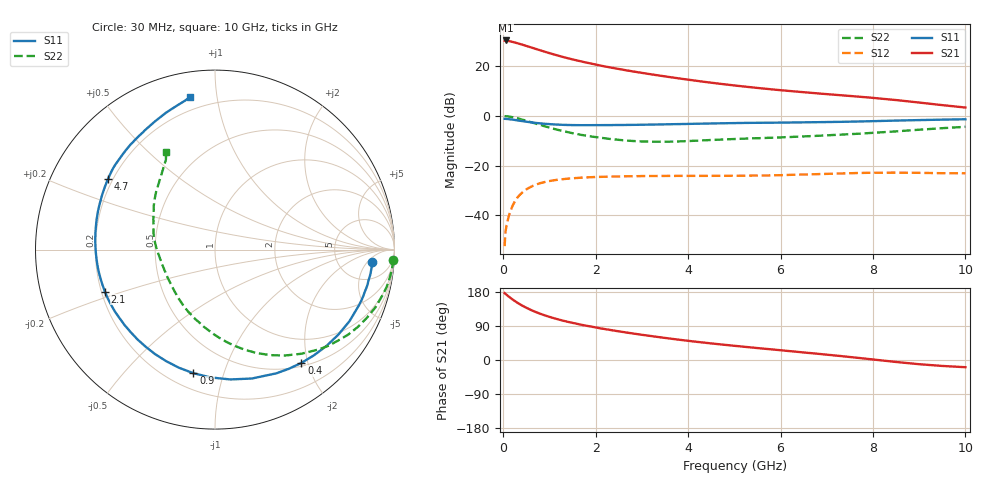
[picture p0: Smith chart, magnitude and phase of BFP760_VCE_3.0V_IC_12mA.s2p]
! Infineon Technologies  Discrete & RF Semiconductors
! BFP760
! VCE =  3.0 V,  IC =  12 mA
! Common Emitter S-Parameters:  Nov 2012
# GHz  S  MA  R  50
!  f  S11  S21  S12  S22
! GHz  MAG  ANG  MAG  ANG  MAG  ANG  MAG  ANG
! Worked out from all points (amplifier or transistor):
!   99 points, 30 MHz to 10 GHz, reference 50 ohm
!   highest |S21| = 30.4 dB at 50 MHz (marker M1)
!   |S21| within 3 dB of that: start of sweep to 635.8 MHz
!   unconditionally stable (mu >= 1): 5.28 GHz to end of sweep
!   at 350 MHz: K = 0.15, MSG = 30.5 dB, |S12| = -31.9 dB
!   at 3.5 GHz: K = 0.73, MSG = 20.0 dB, |S12| = -24.1 dB
!   at 10 GHz: K = 1.15, MAG = 10.9 dB, |S12| = -23.0 dB
!   S11 on the Smith chart (normalised r, x): 30 MHz: 11, -7; 400 MHz: 0.55, -1.89; 900 MHz: 0.30, -0.80; 2.1 GHz: 0.21, -0.18; 4.7 GHz: 0.18, +0.29; 10 GHz: 0.13, +0.84
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0.03  0.8794 -4.4  32.91 176.6  0.0024 82.9  0.9944 -3.2
0.04  0.8794 -5.8  32.91 175.7  0.0034 86.5  0.994 -4.2
0.05  0.8775 -7.3  33.26 174.1  0.0047 74.1  0.9932 -5.1
0.15  0.8595 -21.3  31.99 164.4  0.0117 78.7  0.9686 -15.0
0.25  0.8349 -34.5  30.35 155.7  0.019 70.7  0.9271 -24.3
0.3  0.8211 -40.7  29.41 151.6  0.0224 68.2  0.9047 -28.5
0.4  0.7939 -52.7  27.62 144.3  0.0282 62.3  0.8524 -36.5
0.5  0.7695 -63.6  25.8 137.9  0.0334 57.0  0.8022 -43.9
0.6  0.7471 -74.0  24.14 132.0  0.0377 52.6  0.7525 -50.5
0.8  0.7126 -92.1  21.09 122.0  0.0445 44.6  0.6628 -62.5
0.9  0.6991 -99.9  19.73 117.8  0.047 41.5  0.6214 -68.0
1.1  0.6783 -113.7  17.36 110.2  0.051 36.1  0.5514 -77.8
1.3  0.6648 -125.5  15.42 103.6  0.0537 31.9  0.4955 -86.6
1.7  0.6548 -144.4  12.5 92.8  0.0576 25.7  0.4161 -102.0
2.1  0.6566 -159.1  10.41 83.6  0.0596 21.1  0.3663 -116.7
2.7  0.6627 -176.5  8.225 71.9  0.0613 16.6  0.3195 -136.5
3.4  0.678 167.5  6.488 59.9  0.0623 13.2  0.3039 -158.2
4.7  0.714 146.6  4.456 41.2  0.0626 10.2  0.3357 173.7
5.1  0.7241 142.4  4.037 36.3  0.0629 10.0  0.3478 168.2
6.7  0.7515 128.6  2.913 17.7  0.0673 9.8  0.3963 149.8
8.5  0.8105 109.6  2.099 -5.2  0.0726 3.7  0.4914 129.1
10  0.8613 99.3  1.485 -19.0  0.0704 1.7  0.6067 116.6
